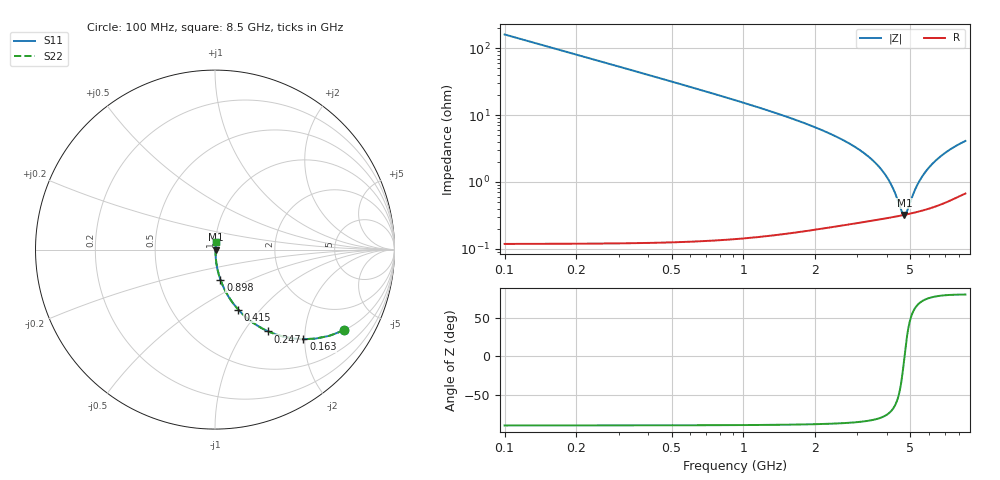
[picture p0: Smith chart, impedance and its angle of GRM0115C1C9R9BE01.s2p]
!Murata Part Number: GRM0115C1C9R9BE01
!These Parameters are Measured in Series Mode Connection
!Data Generated on Mar 30, 2021
!  o--ll--o
!Port1  Port2
!  o------o
!Operation Temp=25[degC], DC Bias Voltage=0[V]
!Freq. Start=100[MHz] Stop=9[GHz] 401[Steps]
# Hz S RI R 50
!Freq.(Hz) S11(Real) S11(Imag) S21(Real) S21(Imag) S12(Real) S12(Imag) S22(Real) S22(Imag)
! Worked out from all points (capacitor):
!   401 points, 100 MHz to 8.5 GHz, reference 50 ohm
!   read as one part in series: C = 9.9 pF near 142 MHz
!   lowest |Z| = 322 mohm at 4.72 GHz (marker M1)
!   series resonance near 4.726 GHz, so ESL is about 110 pH
!   S11 on the Smith chart (normalised r, x): 100 MHz: 1.00, -3.21; 163 MHz: 1.00, -1.97; 247 MHz: 1.00, -1.30; 415 MHz: 1.00, -0.77; 898 MHz: 1.00, -0.34; 8.5 GHz: 1.01, +0.08
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1e8  0.7207 -0.4483  0.2793 0.4483  0.2793 0.4483  0.7207 -0.4483
1.63e8  0.4925 -0.4993  0.5075 0.4993  0.5075 0.4993  0.4925 -0.4993
2.47e8  0.2967 -0.4559  0.7033 0.4559  0.7033 0.4559  0.2967 -0.4559
3.31e8  0.1899 -0.3909  0.8101 0.3909  0.8101 0.3909  0.1899 -0.3909
4.15e8  0.1294 -0.3341  0.8706 0.3341  0.8706 0.3341  0.1294 -0.3341
6.04e8  0.0651 -0.2442  0.9349 0.2442  0.9349 0.2442  0.0651 -0.2442
8.98e8  0.0301 -0.1668  0.9699 0.1668  0.9699 0.1668  0.0301 -0.1668
1.507e9  0.0106 -0.0942  0.9894 0.0942  0.9894 0.0942  0.0106 -0.0942
2.914e9  0.00351 -0.0336  0.9965 0.0336  0.9965 0.0336  0.00351 -0.0336
3.376e9  0.00311 -0.0229  0.9969 0.0229  0.9969 0.0229  0.00311 -0.0229
3.754e9  0.003 -0.0155  0.997 0.0155  0.997 0.0155  0.003 -0.0155
4.048e9  0.003 -0.0104  0.997 0.0104  0.997 0.0104  0.003 -0.0104
4.3e9  0.00304 -0.00631  0.997 0.00631  0.997 0.00631  0.00304 -0.00631
4.594e9  0.00315 -0.00188  0.9969 0.00188  0.9969 0.00188  0.00315 -0.00188
4.72e9  0.00321 -7.83e-05  0.9968 7.83e-05  0.9968 7.83e-05  0.00321 -7.83e-05
4.825e9  0.00326 0.00139  0.9967 -0.00139  0.9967 -0.00139  0.00326 0.00139
5.098e9  0.00343 0.00506  0.9966 -0.00506  0.9966 -0.00506  0.00343 0.00506
5.287e9  0.00357 0.00749  0.9964 -0.00749  0.9964 -0.00749  0.00357 0.00749
5.707e9  0.00394 0.0126  0.9961 -0.0126  0.9961 -0.0126  0.00394 0.0126
6.316e9  0.00461 0.0195  0.9954 -0.0195  0.9954 -0.0195  0.00461 0.0195
7.114e9  0.00576 0.0277  0.9942 -0.0277  0.9942 -0.0277  0.00576 0.0277
8.5e9  0.00827 0.0399  0.9917 -0.0399  0.9917 -0.0399  0.00827 0.0399
